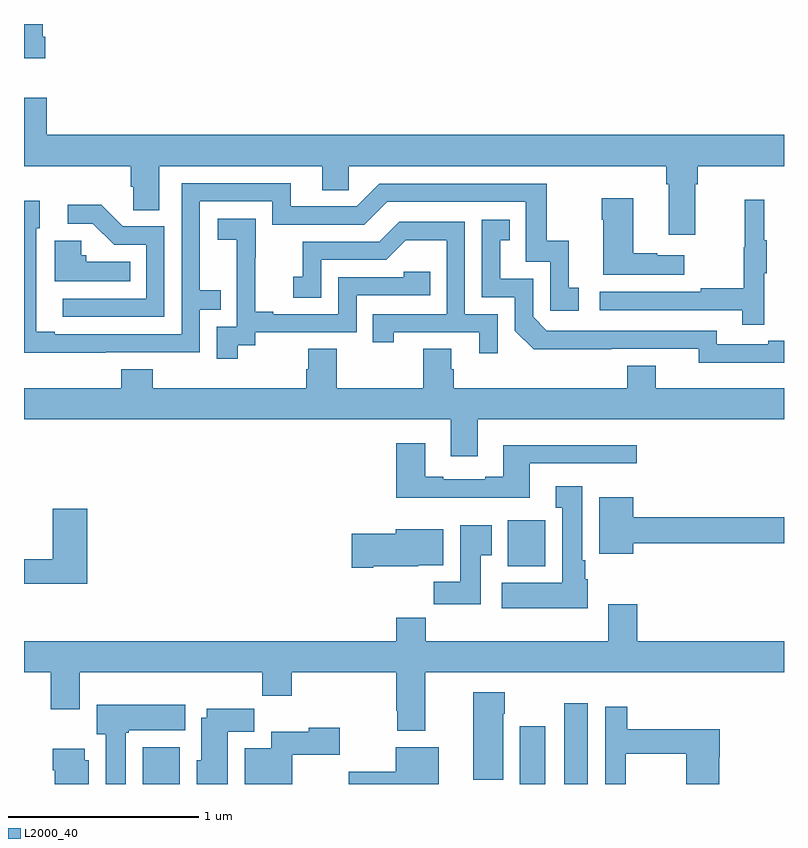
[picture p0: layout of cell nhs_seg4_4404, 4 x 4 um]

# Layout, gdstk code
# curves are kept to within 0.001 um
import gdstk
lib = gdstk.Library(unit=1e-6, precision=1e-09)
def R(c, l, rs):  # rectangles x0, y0, x1, y1
    for r in rs: c.add(gdstk.rectangle(r[:2], r[2:], *l))
def P(c, l, *ps):  # polygons
    for p in ps: c.add(gdstk.Polygon(p, *l))
L2000_40 = (2000, 40)

nhs_seg4_4404 = lib.new_cell('nhs_seg4_4404')
R(nhs_seg4_4404, L2000_40, [(347.624,794.9,347.821,795.094), (349.61,794.9,349.744,795.205), (349.844,794.9,349.966,795.325), (349.547,796.046,349.744,796.288)])
P(nhs_seg4_4404, L2000_40, [(347.111,798.832),(347.098,798.832),(347.098,798.9),(347,798.9),(347,798.72),(347.111,798.72)],
  [(350.533,798.056),(350.546,798.056),(350.546,798.152),(351,798.152),(351,798.316),(347.12,798.316),(347.12,798.511),(347,798.511),(347,798.152),(347.561,798.152),(347.561,798.043),(347.574,798.043),(347.574,797.92),(347.713,797.92),(347.713,798.152),(348.569,798.152),(348.569,798.025),(348.708,798.025),(348.708,798.152),(350.381,798.152),(350.381,798.056),(350.393,798.056),(350.393,797.79),(350.533,797.79)],
  [(347.429,797.172),(347.925,797.172),(347.925,797.397),(348.035,797.397),(348.035,797.498),(347.925,797.498),(347.925,797.967),(348.306,797.967),(348.306,797.844),(348.792,797.844),(348.912,797.964),(349.641,797.964),(349.641,797.649),(349.77,797.649),(349.77,797.391),(349.921,797.391),(349.921,797.511),(349.868,797.511),(349.868,797.758),(349.75,797.758),(349.75,798.06),(348.87,798.06),(348.75,797.94),(348.403,797.94),(348.403,798.063),(347.829,798.063),(347.829,797.268),(347.161,797.268),(347.161,797.281),(347.064,797.281),(347.064,797.826),(347.083,797.826),(347.083,797.971),(347,797.971),(347,797.171)],
  [(350.476,797.683),(350.333,797.683),(350.333,797.693),(350.206,797.693),(350.206,797.983),(350.041,797.983),(350.041,797.87),(350.048,797.87),(350.048,797.579),(350.476,797.579)],
  [(350.897,797.587),(350.908,797.587),(350.908,797.761),(350.897,797.761),(350.897,797.974),(350.794,797.974),(350.794,797.724),(350.787,797.724),(350.787,797.51),(350.563,797.51),(350.563,797.49),(350.031,797.49),(350.031,797.394),(350.779,797.394),(350.779,797.316),(350.897,797.316)],
  [(347.739,797.835),(347.52,797.835),(347.407,797.948),(347.229,797.948),(347.229,797.85),(347.363,797.85),(347.474,797.739),(347.643,797.739),(347.643,797.454),(347.205,797.454),(347.205,797.358),(347.739,797.358)],
  [(348.124,797.209),(348.216,797.209),(348.216,797.277),(348.75,797.277),(348.75,797.472),(349.139,797.472),(349.139,797.595),(348.999,797.595),(348.999,797.568),(348.654,797.568),(348.654,797.373),(348.313,797.373),(348.313,797.386),(348.218,797.386),(348.218,797.669),(348.219,797.669),(348.219,797.875),(348.021,797.875),(348.021,797.765),(348.119,797.765),(348.119,797.537),(348.12,797.537),(348.12,797.307),(348.015,797.307),(348.015,797.139),(348.124,797.139)],
  [(350.918,797.118),(351,797.118),(351,797.234),(350.918,797.234),(350.918,797.214),(350.646,797.214),(350.646,797.286),(349.752,797.286),(349.68,797.358),(349.68,797.559),(349.507,797.559),(349.507,797.763),(349.556,797.763),(349.556,797.869),(349.41,797.869),(349.41,797.463),(349.584,797.463),(349.584,797.286),(349.682,797.189),(350.55,797.19),(350.55,797.117)],
  [(349.494,797.373),(349.32,797.373),(349.32,797.859),(348.974,797.859),(348.869,797.754),(348.466,797.754),(348.466,797.569),(348.417,797.569),(348.417,797.46),(348.564,797.46),(348.564,797.658),(348.906,797.658),(349.01,797.762),(349.224,797.762),(349.224,797.373),(348.835,797.373),(348.835,797.226),(348.946,797.226),(348.946,797.277),(349.397,797.277),(349.397,797.166),(349.494,797.166)],
  [(347.558,797.65),(347.328,797.65),(347.328,797.682),(347.301,797.682),(347.301,797.758),(347.162,797.758),(347.162,797.546),(347.558,797.546)],
  [(349.387,796.82),(351,796.82),(351,796.984),(350.326,796.984),(350.326,797.101),(350.174,797.101),(350.174,796.984),(349.262,796.984),(349.262,797.082),(349.249,797.082),(349.249,797.192),(349.102,797.192),(349.102,796.984),(348.645,796.984),(348.645,797.192),(348.497,797.192),(348.497,797.082),(348.485,797.082),(348.485,796.984),(347.678,796.984),(347.678,797.083),(347.513,797.083),(347.513,796.984),(347,796.984),(347,796.82),(349.247,796.82),(349.247,796.626),(349.387,796.626)],
  [(349.663,796.587),(350.224,796.587),(350.224,796.684),(349.523,796.684),(349.523,796.516),(349.427,796.516),(349.427,796.503),(349.207,796.503),(349.207,796.516),(349.111,796.516),(349.111,796.693),(348.959,796.693),(348.959,796.406),(349.663,796.406)],
  [(349.966,795.978),(349.954,795.978),(349.954,796.078),(349.939,796.078),(349.939,796.468),(349.799,796.468),(349.799,796.355),(349.832,796.355),(349.832,795.958),(349.515,795.958),(349.515,795.824),(349.966,795.824)],
  [(350.206,796.168),(351,796.168),(351,796.304),(350.206,796.304),(350.206,796.408),(350.027,796.408),(350.027,796.112),(350.206,796.112)],
  [(347.333,796.348),(347.15,796.348),(347.15,796.082),(347,796.082),(347,795.954),(347.333,795.954)],
  [(349.405,796.105),(349.462,796.105),(349.462,796.261),(349.295,796.261),(349.295,795.964),(349.156,795.964),(349.156,795.846),(349.405,795.846)],
  [(348.838,796.046),(349.074,796.046),(349.074,796.052),(349.207,796.052),(349.207,796.24),(348.956,796.24),(348.956,796.217),(348.726,796.217),(348.726,796.039),(348.838,796.039)],
  [(349.111,795.488),(351,795.488),(351,795.652),(350.228,795.652),(350.228,795.847),(350.075,795.847),(350.075,795.652),(349.115,795.652),(349.115,795.776),(348.959,795.776),(348.959,795.652),(347,795.652),(347,795.488),(347.141,795.488),(347.141,795.294),(347.293,795.294),(347.293,795.488),(348.253,795.488),(348.253,795.364),(348.41,795.364),(348.41,795.488),(348.959,795.488),(348.959,795.286),(348.964,795.286),(348.964,795.179),(349.111,795.179)],
  [(349.522,795.269),(349.53,795.269),(349.53,795.382),(349.364,795.382),(349.364,794.922),(349.522,794.922)],
  [(347.536,795.169),(347.55,795.169),(347.55,795.182),(347.848,795.182),(347.848,795.316),(347.384,795.316),(347.384,795.162),(347.429,795.162),(347.429,794.9),(347.536,794.9)],
  [(350.167,795.058),(350.485,795.058),(350.485,794.9),(350.658,794.9),(350.658,795.041),(350.663,795.041),(350.663,795.187),(350.174,795.187),(350.174,795.307),(350.058,795.307),(350.058,794.9),(350.167,794.9)],
  [(348.073,795.176),(348.212,795.176),(348.212,795.295),(347.963,795.295),(347.963,795.25),(347.933,795.25),(347.933,795.024),(347.909,795.024),(347.909,794.9),(348.073,794.9)],
  [(348.412,795.053),(348.661,795.053),(348.661,795.195),(348.498,795.195),(348.498,795.175),(348.302,795.175),(348.302,795.088),(348.161,795.088),(348.161,794.9),(348.412,794.9)],
  [(349.183,795.094),(348.956,795.094),(348.956,794.965),(348.709,794.965),(348.709,794.9),(349.183,794.9)],
  [(347.341,795.024),(347.32,795.024),(347.32,795.085),(347.15,795.085),(347.15,794.972),(347.162,794.972),(347.162,794.9),(347.341,794.9)])

lib.write_gds('nhs_seg4_4404.gds')
